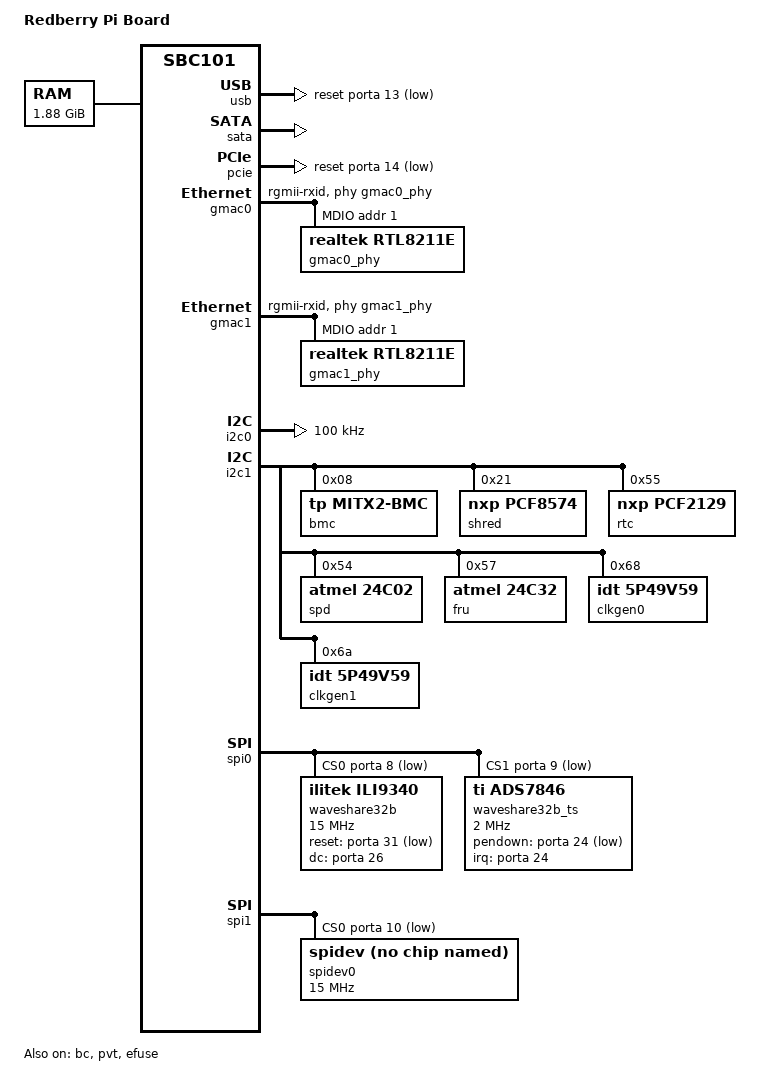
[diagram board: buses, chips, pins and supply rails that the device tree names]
/*
 * Baikal-T1 Redberry Pi board device tree
 *
 * Copyright (C) 2019 T-platforms JSC
 *
 * This program is free software; you can redistribute it and/or
 * modify it under the terms of the GNU General Public License
 * as published by the Free Software Foundation; either version 2
 * of the License, or (at your option) any later version.
 */

/dts-v1/;

#include <dt-bindings/interrupt-controller/mips-gic.h>
#include <dt-bindings/gpio/gpio.h>

#include "baikal_t1_soc.dtsi"

/ {
	model = "Redberry Pi Board";
	compatible = "baikal,mips", "baikal,baikal-t1-soc", "tp,sbc101";

	chosen {
		bootargs = "root=/dev/ram rw console=ttyS0,115200 earlyprintk=uart8250,mmio32,0x1F04A000,115200 nohtw";
		linux,initrd-start = <0 0x01000000>;
		linux,initrd-end   = <0 0x02000000>;
	};

	memory {
		device_type = "memory";
		reg = <0 0x00000000 0 0x08000000>,
		      <0 0x20000000 0 0x70000000>;
	};
};

&usb {
	status = "okay";

	reset-gpio = <&porta 13 GPIO_ACTIVE_LOW>;
};

&sata {
	status = "okay";
};

&pcie {
	status = "okay";

	reset-gpio = <&porta 14 GPIO_ACTIVE_LOW>;
};

&gmac0 {
	status = "okay";
	phy-mode = "rgmii-rxid";
	phy-handle = <&gmac0_phy>;
	snps,reset-gp-out;
	snps,reset-active-low;
	snps,reset-delays-us = <0 11000 31000>;

	gmdio0: gmac0_mdio {
		compatible = "snps,dwmac-mdio";
		#address-cells = <1>;
		#size-cells = <0>;

		gmac0_phy: ethernet-phy@1 {
			compatible = "realtek,rtl8211e", "ethernet-phy-id001c.c915";
			reg = <0x1>;
		};
	};
};

&gmac1 {
	status = "okay";
	phy-mode = "rgmii-rxid";
	phy-handle = <&gmac1_phy>;
	snps,reset-gp-out;
	snps,reset-active-low;
	snps,reset-delays-us = <0 11000 31000>;

	gmdio1: gmac1_mdio {
		compatible = "snps,dwmac-mdio";
		#address-cells = <1>;
		#size-cells = <0>;

		gmac1_phy: ethernet-phy@1 {
			compatible = "realtek,rtl8211e", "ethernet-phy-id001c.c915";
			reg = <0x1>;
		};
	};
};

&gpio {
	status = "okay";
};

&gpio3 {
	status = "okay";
};

&bc {
	status = "okay";
};

&i2c0 {
	status = "okay";
	clock-frequency = <100000>;
};

&i2c1 {
	status = "okay";

	bmc: bmc@8 {
		compatible = "tp,mitx2-bmc", "tp,bt-bmc";
		reg = <0x08>;
		bmc_pinctrl: bmc_pinctrl {
			bmc0_in:  P0_in  { pins = "P0"; output-low; };
			bmc0_out: P0_out { pins = "P0"; output-high; };
			bmc1_in:  P1_in  { pins = "P1"; output-low; };
			bmc1_out: P1_out { pins = "P1"; output-high; };
			bmc2_in:  P2_in  { pins = "P2"; output-low; };
			bmc2_out: P2_out { pins = "P2"; output-high; };
			bmc3_in:  P3_in  { pins = "P3"; output-low; };
			bmc3_out: P3_out { pins = "P3"; output-high; };
			bmc4_in:  P4_in  { pins = "P4"; output-low; };
			bmc4_out: P4_out { pins = "P4"; output-high; };
			bmc5_in:  P5_in  { pins = "P5"; output-low; };
			bmc5_out: P5_out { pins = "P5"; output-high; };
			bmc6_in:  P6_in  { pins = "P6"; output-low; };
			bmc6_out: P6_out { pins = "P6"; output-high; };
			bmc7_in:  P7_in  { pins = "P7"; output-low; };
			bmc7_out: P7_out { pins = "P7"; output-high; };
			bmc8_in:  P8_in  { pins = "P8"; output-low; };
			bmc8_out: P8_out { pins = "P8"; output-high; };
			bmc9_in:  P9_in  { pins = "P9"; output-low; };
			bmc9_out: P9_out { pins = "P9"; output-high; };
			bmc10_in:  P10_in  { pins = "P10"; output-low; };
			bmc10_out: P10_out { pins = "P10"; output-high; };
			bmc11_in:  P11_in  { pins = "P11"; output-low; };
			bmc11_out: P11_out { pins = "P11"; output-high; };
			bmc12_in:  P12_in  { pins = "P12"; output-low; };
			bmc12_out: P12_out { pins = "P12"; output-high; };
			bmc13_in:  P13_in  { pins = "P13"; output-low; };
			bmc13_out: P13_out { pins = "P13"; output-high; };
			bmc14_in:  P14_in  { pins = "P14"; output-low; };
			bmc14_out: P14_out { pins = "P14"; output-high; };
			bmc15_in:  P15_in  { pins = "P15"; output-low; };
			bmc15_out: P15_out { pins = "P15"; output-high; };
			bmc16_in:  P16_in  { pins = "P16"; output-low; };
			bmc16_out: P16_out { pins = "P16"; output-high; };
			bmc17_in:  P17_in  { pins = "P17"; output-low; };
			bmc17_out: P17_out { pins = "P17"; output-high; };
			bmc18_in:  P18_in  { pins = "P18"; output-low; };
			bmc18_out: P18_out { pins = "P18"; output-high; };
			bmc19_in:  P19_in  { pins = "P19"; output-low; };
			bmc19_out: P19_out { pins = "P19"; output-high; };
			bmc20_in:  P20_in  { pins = "P20"; output-low; };
			bmc20_out: P20_out { pins = "P20"; output-high; };
			bmc21_in:  P21_in  { pins = "P21"; output-low; };
			bmc21_out: P21_out { pins = "P21"; output-high; };
			bmc22_in:  P22_in  { pins = "P22"; output-low; };
			bmc22_out: P22_out { pins = "P22"; output-high; };
			bmc23_in:  P23_in  { pins = "P23"; output-low; };
			bmc23_out: P23_out { pins = "P23"; output-high; };
		};
	};

	shred: gpio@21 {
		compatible = "nxp,pcf8574";
		reg = <0x21>;
		gpio-controller;
		#gpio-cells = <2>;
		ngpios = <8>; /* Informative */
	};

	rtc: rtc@55 {
		compatible = "nxp,pcf2129", "nxp,pcf2127";
		reg = <0x55>;
	};

	spd: eeprom@54 {
		compatible = "atmel,24c02";
		pagesize = <16>;
		reg = <0x54>;
	};

	fru: eeprom@57 {
		compatible = "atmel,24c32";
		pagesize = <32>;
		reg = <0x57>;
	};

	clkgen0: clkgen@68 {
		compatible = "idt,5p49v59";
		reg = <0x68>;
	};

	clkgen1: clkgen@6A {
		compatible = "idt,5p49v59";
		reg = <0x6A>;
	};
};

&spi0 {
	status = "okay";
	num-cs = <2>;
	cs-gpios = <&porta 8 GPIO_ACTIVE_LOW>, <&porta 9 GPIO_ACTIVE_LOW>;
	waveshare32b@0 {
		compatible = "ilitek,ili9340";
		reg = <0x0>;
		spi-max-frequency = <15000000>;
		rotate = <90>;
		fps = <25>;
		bgr;
		buswidth = <0x8>;
		reset-gpios = <&porta 31 GPIO_ACTIVE_LOW>;
		dc-gpios = <&porta 26 GPIO_ACTIVE_HIGH>;
		debug = <0>;
	};
	waveshare32b_ts@1 {
		compatible = "ti,ads7846";
		reg = <0x1>;
		spi-max-frequency = <2000000>;
		interrupts = <24 2>;
		interrupt-parent = <&porta>;
		pendown-gpio = <&porta 24 GPIO_ACTIVE_LOW>;
		ti,x-plate-ohms = [00 3c];
		ti,pressure-max = [00 ff];
	};
};

&spi1 {
	status = "okay";
	num-cs = <1>;
	cs-gpios = <&porta 10 GPIO_ACTIVE_LOW>;
	spidev0@2 {
		compatible = "rohm,dh2228fv";
		reg = <0>;
		spi-max-frequency = <15000000>;
	};
};

&pvt {
	status = "okay";
};

&efuse {
	status = "okay";
};

&porta {
	tp-pinctrl = "bmc_pinctrl";
	pinctrl-map = <0>, <1>, <2>, <3>, <4>, <0xff>, <0xff>, <0xff>,
		      <22>, <23>, <0xff>, <0xff>, <0xff>, <0xff>, <0xff>, <0xff>,
		      <0xff>, <8>, <0xff>, <9>, <10>, <11>, <12>, <13>,
		      <14>, <15>, <16>, <17>, <18>, <19>, <20>, <21>;
};

&gpio {
	pinctrl-names = "in0", "out0", "in1", "out1", "in2", "out2", "in3", "out3",
		"in4", "out4", "in5", "out5", "in6", "out6", "in7", "out7",
		"in8", "out8", "in9", "out9", "in10", "out10", "in11", "out11",
		"in12", "out12", "in13", "out13", "in14", "out14", "in15", "out15",
		"in16", "out16", "in17", "out17", "in18", "out18", "in19", "out19",
		"in20", "out20", "in21", "out21", "in22", "out22", "in23", "out23";
	pinctrl-0 = <&bmc0_in>;
	pinctrl-1 = <&bmc0_out>;
	pinctrl-2 = <&bmc1_in>;
	pinctrl-3 = <&bmc1_out>;
	pinctrl-4 = <&bmc2_in>;
	pinctrl-5 = <&bmc2_out>;
	pinctrl-6 = <&bmc3_in>;
	pinctrl-7 = <&bmc3_out>;
	pinctrl-8 = <&bmc4_in>;
	pinctrl-9 = <&bmc4_out>;
	pinctrl-10 = <&bmc5_in>;
	pinctrl-11 = <&bmc5_out>;
	pinctrl-12 = <&bmc6_in>;
	pinctrl-13 = <&bmc6_out>;
	pinctrl-14 = <&bmc7_in>;
	pinctrl-15 = <&bmc7_out>;
	pinctrl-16 = <&bmc8_in>;
	pinctrl-17 = <&bmc8_out>;
	pinctrl-18 = <&bmc9_in>;
	pinctrl-19 = <&bmc9_out>;
	pinctrl-20 = <&bmc10_in>;
	pinctrl-21 = <&bmc10_out>;
	pinctrl-22 = <&bmc11_in>;
	pinctrl-23 = <&bmc11_out>;
	pinctrl-24 = <&bmc12_in>;
	pinctrl-25 = <&bmc12_out>;
	pinctrl-26 = <&bmc13_in>;
	pinctrl-27 = <&bmc13_out>;
	pinctrl-28 = <&bmc14_in>;
	pinctrl-29 = <&bmc14_out>;
	pinctrl-30 = <&bmc15_in>;
	pinctrl-31 = <&bmc15_out>;
	pinctrl-32 = <&bmc16_in>;
	pinctrl-33 = <&bmc16_out>;
	pinctrl-34 = <&bmc17_in>;
	pinctrl-35 = <&bmc17_out>;
	pinctrl-36 = <&bmc18_in>;
	pinctrl-37 = <&bmc18_out>;
	pinctrl-38 = <&bmc19_in>;
	pinctrl-39 = <&bmc19_out>;
	pinctrl-40 = <&bmc20_in>;
	pinctrl-41 = <&bmc20_out>;
	pinctrl-42 = <&bmc21_in>;
	pinctrl-43 = <&bmc21_out>;
	pinctrl-44 = <&bmc22_in>;
	pinctrl-45 = <&bmc22_out>;
	pinctrl-46 = <&bmc23_in>;
	pinctrl-47 = <&bmc23_out>;
};
